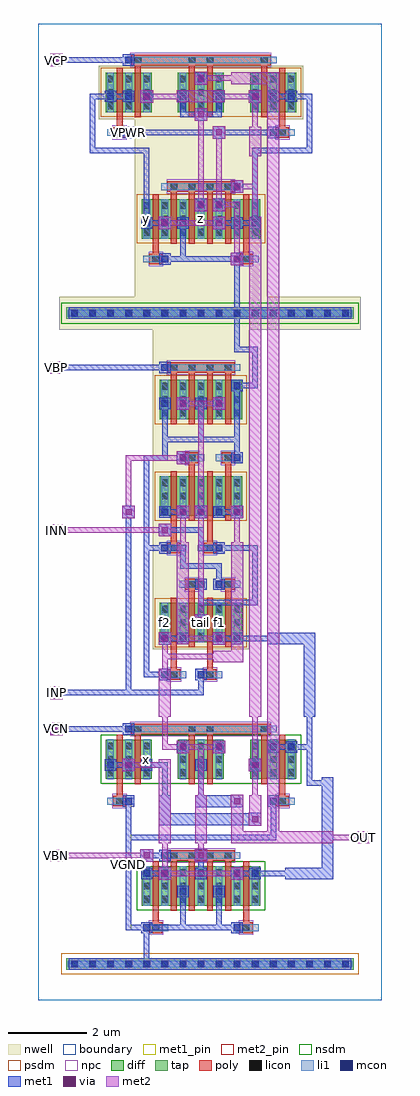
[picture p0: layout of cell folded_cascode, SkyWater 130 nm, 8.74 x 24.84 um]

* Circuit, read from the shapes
.subckt folded_cascode INN INP OUT VBN VBP VCN VCP VGND VPWR f1 f2 tail x y z
XM1 f1 VGND f1 VGND sky130_fd_pr__nfet_01v8 w=1 l=0.15 m=4
XM2 x VCN f1 VGND sky130_fd_pr__nfet_01v8 w=1 l=0.15 m=2
XM3 VGND VBN f1 VGND sky130_fd_pr__nfet_01v8 w=1 l=0.15 m=2
XM4 f2 VBN VGND VGND sky130_fd_pr__nfet_01v8 w=1 l=0.15 m=2
XM5 OUT VCN f2 VGND sky130_fd_pr__nfet_01v8 w=1 l=0.15 m=2
XM6 y VPWR y VPWR sky130_fd_pr__pfet_01v8 w=1 l=0.15 m=4
XM7 x VCP y VPWR sky130_fd_pr__pfet_01v8 w=1 l=0.15 m=2
XM8 f2 VPWR f2 VPWR sky130_fd_pr__pfet_01v8 w=1 l=0.15 m=2
XM9 f1 VPWR f1 VPWR sky130_fd_pr__pfet_01v8 w=1 l=0.15 m=2
XM10 tail VBP VPWR VPWR sky130_fd_pr__pfet_01v8 w=1 l=0.15 m=4
XM11 VPWR x y VPWR sky130_fd_pr__pfet_01v8 w=1 l=0.15 m=2
XM12 tail INN f2 VPWR sky130_fd_pr__pfet_01v8 w=1 l=0.15 m=2
XM13 tail INP f1 VPWR sky130_fd_pr__pfet_01v8 w=1 l=0.15 m=2
XM14 z x VPWR VPWR sky130_fd_pr__pfet_01v8 w=1 l=0.15 m=2
XM15 OUT VCP z VPWR sky130_fd_pr__pfet_01v8 w=1 l=0.15 m=2
.ends

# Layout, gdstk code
import gdstk
lib = gdstk.Library(unit=1e-6, precision=1e-09)
def R(c, l, rs):  # rectangles x0, y0, x1, y1
    for r in rs: c.add(gdstk.rectangle(r[:2], r[2:], *l))
def A(c, l, x, y, w, h, nx, ny, dx, dy):  # array of equal rectangles
    R(c, l, [(x+i*dx, y+j*dy, x+i*dx+w, y+j*dy+h) for i in range(nx) for j in range(ny)])
nwell = (64, 20)
diff = (65, 20)
tap = (65, 44)
poly = (66, 20)
licon = (66, 44)
li1 = (67, 20)
mcon = (67, 44)
met1_pin = (68, 16)
met1 = (68, 20)
via = (68, 44)
met2_pin = (69, 16)
met2 = (69, 20)
nsdm = (93, 44)
psdm = (94, 20)
npc = (95, 20)
boundary = (235, 4)

folded_cascode = lib.new_cell('folded_cascode')
R(folded_cascode, nwell, [(2.915,8.925,5.365,17.06), (0.535,17.06,8.205,17.9), (2.455,17.9,5.825,22.42), (1.535,22.42,6.745,23.78)])
A(folded_cascode, diff, 1.715, 5.625, 1.17, 1, 3, 2, 1.84, 16.975)
R(folded_cascode, diff, [(2.635,2.405,5.645,3.405), (3.095,9.105,5.185,10.105), (3.095,12.325,5.185,13.325), (3.095,14.78,5.185,15.78), (2.635,19.38,5.645,20.38)])
R(folded_cascode, tap, [(0.715,0.775,8.025,1.065), (0.715,17.335,8.025,17.625)])
A(folded_cascode, poly, 3.375, 2.275, 0.15, 1.405, 4, 1, 0.46, 0)
A(folded_cascode, poly, 3.375, 14.65, 0.15, 1.45, 4, 2, 0.46, 4.6)
R(folded_cascode, poly, [(2.825,1.705,3.155,1.975), (5.125,1.705,5.455,1.975), (2.915,1.84,3.065,3.535), (5.215,1.84,5.365,3.535), (3.285,3.545,4.995,3.815), (1.905,4.925,2.235,5.195), (6.045,4.925,6.375,5.195), (1.995,5.06,2.145,6.755), (6.135,5.06,6.285,6.755), (2.455,5.495,2.605,6.9), (3.835,5.495,3.985,6.9), (4.295,5.495,4.445,6.9), (5.675,5.495,5.825,6.9), (2.365,6.765,5.915,7.035), (3.285,8.145,3.615,8.415), (4.205,8.145,4.535,8.415), (3.375,8.28,3.525,10.235), (4.295,8.28,4.445,10.235), (3.835,8.975,3.985,10.58), (4.755,8.975,4.905,10.58), (3.745,10.445,4.075,10.715), (4.665,10.445,4.995,10.715), (3.285,11.365,3.615,11.635), (4.205,11.365,4.535,11.635), (3.375,11.5,3.525,13.455), (4.295,11.5,4.445,13.455), (3.835,12.195,3.985,13.8), (4.755,12.195,4.905,13.8), (3.745,13.665,4.075,13.935), (4.665,13.665,4.995,13.935), (3.285,15.965,4.995,16.235), (2.825,18.725,3.155,18.995), (5.125,18.725,5.455,18.995), (2.915,18.86,3.065,20.51), (5.215,18.86,5.365,20.51), (3.285,20.565,4.995,20.835), (1.905,21.945,2.235,22.215), (6.045,21.945,6.375,22.215), (1.995,22.08,2.145,23.73), (6.135,22.08,6.285,23.73), (2.455,22.47,2.605,23.92), (3.835,22.47,3.985,23.92), (4.295,22.47,4.445,23.92), (5.675,22.47,5.825,23.92), (2.365,23.785,5.915,24.055)])
A(folded_cascode, licon, 0.835, 0.835, 0.17, 0.17, 16, 2, 0.46, 16.56)
A(folded_cascode, licon, 2.675, 2.48, 0.17, 0.17, 7, 3, 0.46, 0.34)
A(folded_cascode, licon, 3.365, 3.595, 0.17, 0.17, 4, 2, 0.46, 12.42)
A(folded_cascode, licon, 1.755, 5.7, 0.17, 0.17, 3, 3, 0.46, 0.34)
A(folded_cascode, licon, 3.595, 5.7, 0.17, 0.17, 3, 3, 0.46, 0.34)
A(folded_cascode, licon, 5.435, 5.7, 0.17, 0.17, 3, 3, 0.46, 0.34)
A(folded_cascode, licon, 3.135, 9.18, 0.17, 0.17, 5, 3, 0.46, 0.34)
A(folded_cascode, licon, 3.135, 12.4, 0.17, 0.17, 5, 3, 0.46, 0.34)
A(folded_cascode, licon, 3.135, 14.855, 0.17, 0.17, 5, 3, 0.46, 0.34)
A(folded_cascode, licon, 2.675, 19.455, 0.17, 0.17, 7, 3, 0.46, 0.34)
A(folded_cascode, licon, 3.365, 20.615, 0.17, 0.17, 4, 1, 0.46, 0)
A(folded_cascode, licon, 1.755, 22.675, 0.17, 0.17, 3, 3, 0.46, 0.34)
A(folded_cascode, licon, 3.595, 22.675, 0.17, 0.17, 3, 3, 0.46, 0.34)
A(folded_cascode, licon, 5.435, 22.675, 0.17, 0.17, 3, 3, 0.46, 0.34)
R(folded_cascode, licon, [(2.905,1.755,3.075,1.925), (5.205,1.755,5.375,1.925), (1.985,4.975,2.155,5.145), (6.125,4.975,6.295,5.145), (2.445,6.815,2.615,6.985), (3.825,6.815,3.995,6.985), (4.285,6.815,4.455,6.985), (5.665,6.815,5.835,6.985), (3.365,8.195,3.535,8.365), (4.285,8.195,4.455,8.365), (3.825,10.495,3.995,10.665), (4.745,10.495,4.915,10.665), (3.365,11.415,3.535,11.585), (4.285,11.415,4.455,11.585), (3.825,13.715,3.995,13.885), (4.745,13.715,4.915,13.885), (2.905,18.775,3.075,18.945), (5.205,18.775,5.375,18.945), (1.985,21.995,2.155,22.165), (6.125,21.995,6.295,22.165), (2.445,23.835,2.615,24.005), (3.825,23.835,3.995,24.005), (4.285,23.835,4.455,24.005), (5.665,23.835,5.835,24.005)])
A(folded_cascode, li1, 2.675, 2.4, 0.17, 1.01, 7, 2, 0.46, 16.975)
A(folded_cascode, li1, 1.755, 5.62, 0.17, 1.01, 3, 2, 0.46, 16.975)
A(folded_cascode, li1, 3.595, 5.62, 0.17, 1.01, 3, 2, 0.46, 16.975)
A(folded_cascode, li1, 5.435, 5.62, 0.17, 1.01, 3, 2, 0.46, 16.975)
A(folded_cascode, li1, 3.135, 9.1, 0.17, 1.01, 5, 2, 0.46, 3.22)
A(folded_cascode, li1, 3.135, 14.775, 0.17, 1.01, 5, 1, 0.46, 0)
R(folded_cascode, li1, [(0.755,0.835,7.985,1.005), (2.675,1.755,3.305,1.925), (4.975,1.755,5.605,1.925), (3.135,3.595,5.145,3.765), (1.755,4.975,2.385,5.145), (5.895,4.975,6.525,5.145), (2.215,6.815,6.065,6.985), (3.135,8.195,3.765,8.365), (4.055,8.195,4.685,8.365), (3.595,10.495,4.225,10.665), (4.515,10.495,5.145,10.665), (3.135,11.415,3.765,11.585), (4.055,11.415,4.685,11.585), (3.595,13.715,4.225,13.885), (4.515,13.715,5.145,13.885), (3.135,16.015,5.145,16.185), (0.755,17.395,7.985,17.565), (2.675,18.775,3.305,18.945), (4.975,18.775,5.605,18.945), (3.135,20.615,5.145,20.785), (1.755,21.995,2.385,22.165), (5.895,21.995,6.525,22.165), (2.215,23.835,6.065,24.005)])
A(folded_cascode, mcon, 0.835, 0.835, 0.17, 0.17, 16, 2, 0.46, 16.56)
A(folded_cascode, mcon, 3.135, 3.135, 0.17, 0.17, 3, 1, 0.92, 0)
A(folded_cascode, mcon, 1.755, 5.895, 0.17, 0.17, 3, 2, 0.46, 17.02)
A(folded_cascode, mcon, 3.135, 12.335, 0.17, 0.17, 5, 1, 0.46, 0)
A(folded_cascode, mcon, 3.135, 15.095, 0.17, 0.17, 4, 1, 0.46, 0)
A(folded_cascode, mcon, 4.975, 18.775, 0.17, 0.17, 1, 3, 0, 0.92)
A(folded_cascode, mcon, 2.675, 19.695, 0.17, 0.17, 3, 1, 0.46, 0)
A(folded_cascode, mcon, 3.595, 22.915, 0.17, 0.17, 3, 1, 0.92, 0)
R(folded_cascode, mcon, [(2.675,1.755,2.845,1.925), (4.975,1.755,5.145,1.925), (3.595,2.675,3.765,2.845), (4.515,2.675,4.685,2.845), (2.675,3.135,2.845,3.305), (5.435,3.135,5.605,3.305), (3.135,3.595,3.305,3.765), (2.215,4.975,2.385,5.145), (5.895,4.975,6.065,5.145), (4.055,5.895,4.225,6.065), (5.435,5.895,5.605,6.065), (3.595,6.355,3.765,6.525), (4.515,6.355,4.685,6.525), (5.895,6.355,6.065,6.525), (6.355,6.355,6.525,6.525), (2.215,6.815,2.385,6.985), (3.135,8.195,3.305,8.365), (4.055,8.195,4.225,8.365), (3.135,9.115,3.305,9.285), (3.595,9.115,3.765,9.285), (4.515,9.115,4.685,9.285), (4.975,9.115,5.145,9.285), (4.055,9.575,4.225,9.745), (4.055,10.495,4.225,10.665), (4.515,10.495,4.685,10.665), (3.135,11.415,3.305,11.585), (4.515,11.415,4.685,11.585), (3.595,13.715,3.765,13.885), (4.975,13.715,5.145,13.885), (4.975,15.555,5.145,15.725), (3.135,16.015,3.305,16.185), (3.135,18.775,3.305,18.945), (5.435,19.695,5.605,19.865), (4.055,20.155,4.225,20.325), (4.515,20.155,4.685,20.325), (2.215,21.995,2.385,22.165), (5.895,21.995,6.065,22.165), (5.895,22.915,6.065,23.085), (6.355,22.915,6.525,23.085), (4.055,23.375,4.225,23.545), (2.215,23.835,2.385,24.005)])
R(folded_cascode, met1_pin, [(2.23,1.77,2.37,5.13), (2.155,21.935,2.445,22.225)])
A(folded_cascode, met1, 3.075, 3.075, 0.29, 0.29, 3, 1, 0.92, 0)
A(folded_cascode, met1, 2.69, 3.61, 0.6, 0.14, 1, 3, 0, 2.3)
A(folded_cascode, met1, 1.695, 5.835, 0.29, 0.29, 3, 2, 0.46, 17.02)
A(folded_cascode, met1, 3.52, 12.26, 0.32, 0.32, 1, 3, 0, 1.38)
A(folded_cascode, met1, 3.075, 12.275, 0.29, 0.29, 5, 1, 0.46, 0)
A(folded_cascode, met1, 3.075, 15.035, 0.29, 0.29, 4, 1, 0.46, 0)
A(folded_cascode, met1, 4.915, 18.715, 0.29, 0.29, 1, 3, 0, 0.92)
A(folded_cascode, met1, 2.615, 19.635, 0.29, 0.29, 3, 1, 0.46, 0)
A(folded_cascode, met1, 3.535, 22.855, 0.29, 0.29, 3, 1, 0.92, 0)
R(folded_cascode, met1, [(0.775,0.775,7.965,1.065), (2.69,0.85,2.83,1.91), (2.69,0.85,2.83,0.99), (2.615,1.695,2.905,1.985), (4.915,1.695,5.205,1.985), (2.23,1.77,2.83,1.91), (2.23,1.77,2.37,5.13), (2.69,1.77,3.75,1.91), (3.61,1.77,3.75,2.83), (3.61,1.77,5.13,1.91), (4.53,1.77,4.67,2.83), (3.535,2.615,3.825,2.905), (4.455,2.615,4.745,2.905), (3.06,3.06,3.38,3.38), (4.9,3.06,5.22,3.38), (6.29,3.07,7.51,3.37), (7.21,3.07,7.51,5.67), (2.615,3.075,2.905,3.365), (5.375,3.075,5.665,3.365), (2.69,3.15,3.29,3.29), (4.07,3.15,4.21,3.75), (4.99,3.15,5.59,3.29), (5.45,3.15,6.51,3.29), (2.6,3.52,2.92,3.84), (3.98,3.52,4.3,3.84), (3.075,3.535,3.365,3.825), (2.23,4.07,6.05,4.21), (5.91,4.07,6.05,5.13), (5.36,4.44,5.68,4.76), (3.07,4.45,5.67,4.75), (3.07,4.45,3.37,5.21), (4.9,4.9,5.22,5.22), (3.99,4.91,5.21,5.21), (2.155,4.915,2.445,5.205), (5.835,4.915,6.125,5.205), (3.15,4.99,3.29,6.05), (4.07,4.99,4.21,6.05), (6.83,5.45,7.43,5.59), (6.83,5.45,6.97,6.51), (2.14,5.82,2.46,6.14), (5.36,5.82,5.68,6.14), (3.995,5.835,4.285,6.125), (5.375,5.835,5.665,6.125), (1.77,5.91,2.37,6.05), (3.52,6.28,3.84,6.6), (4.44,6.28,4.76,6.6), (3.535,6.295,3.825,6.585), (4.455,6.295,4.745,6.585), (5.835,6.295,6.125,6.585), (6.295,6.295,6.585,6.585), (5.91,6.37,6.51,6.51), (6.37,6.37,6.97,6.51), (6.83,6.37,6.97,7.43), (0.3,6.74,0.62,7.06), (2.155,6.755,2.445,7.045), (0.39,6.83,2.37,6.97), (6.75,7.21,7.05,9.35), (0.3,7.66,0.62,7.98), (0.39,7.75,4.21,7.89), (2.23,7.75,2.37,12.49), (4.07,7.75,4.21,8.35), (3.075,8.135,3.365,8.425), (3.995,8.135,4.285,8.425), (2.69,8.21,2.83,11.57), (3.06,9.04,3.38,9.36), (4.44,9.04,4.76,9.36), (5.83,9.05,7.05,9.35), (3.075,9.055,3.365,9.345), (3.535,9.055,3.825,9.345), (4.455,9.055,4.745,9.345), (4.915,9.055,5.205,9.345), (3.15,9.13,3.75,9.27), (4.53,9.13,5.13,9.27), (4.99,9.13,6.05,9.27), (3.98,9.5,4.3,9.82), (3.995,9.515,4.285,9.805), (4.07,10.05,4.21,10.65), (4.07,10.05,5.59,10.19), (5.45,10.05,5.59,11.57), (3.995,10.435,4.285,10.725), (4.455,10.435,4.745,10.725), (4.53,10.51,4.67,11.11), (3.61,10.97,3.75,11.57), (3.61,10.97,4.67,11.11), (3.075,11.355,3.365,11.645), (4.455,11.355,4.745,11.645), (2.69,11.43,3.29,11.57), (2.69,11.43,2.83,13.87), (3.15,11.43,3.75,11.57), (4.07,11.43,4.67,11.57), (4.07,11.43,4.21,12.03), (4.53,11.43,5.59,11.57), (3.06,11.8,3.38,12.12), (3.15,11.89,4.21,12.03), (2.14,12.26,2.46,12.58), (3.98,12.26,4.3,12.58), (4.9,12.26,5.22,12.58), (3.15,12.35,3.75,12.49), (4.53,12.35,5.13,12.49), (3.535,13.655,3.825,13.945), (4.915,13.655,5.205,13.945), (2.69,13.73,3.29,13.87), (3.15,13.73,3.29,14.33), (4.99,13.73,5.13,15.71), (3.15,14.19,3.29,15.25), (3.15,14.19,4.21,14.33), (4.07,14.19,4.21,15.25), (4.07,14.19,5.13,14.33), (4.44,15.02,4.76,15.34), (4.915,15.495,5.205,15.785), (4.99,15.57,5.59,15.71), (5.45,15.57,5.59,16.63), (0.3,15.94,0.62,16.26), (3.075,15.955,3.365,16.245), (0.39,16.03,3.29,16.17), (4.99,16.49,5.59,16.63), (4.99,16.49,5.13,17.55), (0.775,17.335,7.965,17.625), (4.99,17.41,5.13,17.55), (4.99,17.41,5.13,18.93), (4.9,18.7,5.22,19.02), (3.075,18.715,3.365,19.005), (3.15,18.79,5.13,18.93), (3.61,18.79,3.75,19.85), (3.06,19.62,3.38,19.94), (4.44,19.62,4.76,19.94), (5.375,19.635,5.665,19.925), (2.69,19.71,3.29,19.85), (2.69,19.71,2.83,21.69), (4.53,19.71,5.13,19.85), (4.99,19.71,5.59,19.85), (5.45,19.71,5.59,21.69), (3.98,20.08,4.3,20.4), (4.44,20.08,4.76,20.4), (3.995,20.095,4.285,20.385), (4.455,20.095,4.745,20.385), (4.9,20.54,5.22,20.86), (1.31,21.55,2.83,21.69), (1.31,21.55,1.45,23.07), (5.45,21.55,6.97,21.69), (6.83,21.55,6.97,23.07), (4.44,21.92,4.76,22.24), (2.155,21.935,2.445,22.225), (5.835,21.935,6.125,22.225), (2.23,22.01,4.67,22.15), (4.53,22.01,6.05,22.15), (3.98,22.38,4.3,22.7), (3.61,22.47,4.21,22.61), (3.61,22.47,3.75,23.07), (4.07,22.47,4.67,22.61), (4.53,22.47,4.67,23.07), (2.6,22.84,2.92,23.16), (5.36,22.84,5.68,23.16), (5.835,22.855,6.125,23.145), (6.295,22.855,6.585,23.145), (1.31,22.93,1.91,23.07), (1.77,22.93,2.37,23.07), (5.91,22.93,6.51,23.07), (6.37,22.93,6.97,23.07), (3.98,23.3,4.3,23.62), (3.995,23.315,4.285,23.605), (0.3,23.76,0.62,24.08), (2.155,23.775,2.445,24.065), (0.39,23.85,2.37,23.99)])
A(folded_cascode, via, 3.605, 12.345, 0.15, 0.15, 1, 3, 0, 1.38)
R(folded_cascode, via, [(3.145,3.145,3.295,3.295), (4.985,3.145,5.135,3.295), (2.685,3.605,2.835,3.755), (4.065,3.605,4.215,3.755), (5.445,4.525,5.595,4.675), (4.985,4.985,5.135,5.135), (2.225,5.905,2.375,6.055), (5.445,5.905,5.595,6.055), (3.605,6.365,3.755,6.515), (4.525,6.365,4.675,6.515), (0.385,6.825,0.535,6.975), (0.385,7.745,0.535,7.895), (3.145,9.125,3.295,9.275), (4.525,9.125,4.675,9.275), (4.065,9.585,4.215,9.735), (3.145,11.885,3.295,12.035), (2.225,12.345,2.375,12.495), (4.065,12.345,4.215,12.495), (4.985,12.345,5.135,12.495), (4.525,15.105,4.675,15.255), (0.385,16.025,0.535,16.175), (4.985,18.785,5.135,18.935), (3.145,19.705,3.295,19.855), (4.525,19.705,4.675,19.855), (4.065,20.165,4.215,20.315), (4.525,20.165,4.675,20.315), (4.985,20.625,5.135,20.775), (4.525,22.005,4.675,22.155), (4.065,22.465,4.215,22.615), (2.685,22.925,2.835,23.075), (5.445,22.925,5.595,23.075), (4.065,23.385,4.215,23.535), (0.385,23.845,0.535,23.995)])
A(folded_cascode, met2_pin, 0.31, 7.67, 0.3, 0.3, 1, 3, 0, 4.14)
R(folded_cascode, met2_pin, [(0.31,3.53,0.61,3.83), (8.13,3.99,8.43,4.29), (0.31,6.75,0.61,7.05), (0.31,23.77,0.61,24.07)])
A(folded_cascode, met2, 0.31, 7.67, 0.3, 0.3, 1, 3, 0, 4.14)
A(folded_cascode, met2, 0.39, 7.75, 0.14, 0.14, 1, 3, 0, 4.14)
A(folded_cascode, met2, 3.52, 12.26, 0.32, 0.32, 1, 3, 0, 1.38)
R(folded_cascode, met2, [(3.06,3.06,3.38,3.38), (4.9,3.06,5.22,3.38), (3.15,3.15,5.13,3.29), (3.15,3.15,3.29,4.21), (2.6,3.52,2.92,3.84), (3.98,3.52,4.3,3.84), (0.31,3.53,0.61,3.83), (0.39,3.61,0.53,3.75), (0.39,3.61,2.83,3.75), (4.07,3.61,4.21,4.21), (3.07,3.99,3.37,6.13), (3.99,3.99,4.29,5.21), (4.91,3.99,5.21,5.21), (4.91,3.99,7.51,4.29), (5.83,3.99,6.13,23.61), (8.13,3.99,8.43,4.29), (7.29,4.07,8.35,4.21), (8.21,4.07,8.35,4.21), (5.36,4.44,5.68,4.76), (5.37,4.45,5.67,5.21), (4.9,4.9,5.22,5.22), (4.07,4.99,4.21,6.51), (5.45,4.99,5.59,6.05), (2.14,5.82,2.46,6.14), (5.36,5.82,5.68,6.14), (2.23,5.91,3.29,6.05), (5.45,5.91,5.59,7.43), (3.52,6.28,3.84,6.6), (4.44,6.28,4.76,6.6), (3.15,6.37,3.75,6.51), (3.15,6.37,3.29,7.43), (3.61,6.37,4.67,6.51), (0.3,6.74,0.62,7.06), (0.31,6.75,0.61,7.05), (0.39,6.83,0.53,6.97), (3.07,7.21,3.37,8.43), (5.37,7.21,5.67,19.93), (0.3,7.66,0.62,7.98), (3.15,8.21,3.29,9.27), (4.45,8.59,5.21,8.89), (4.91,8.59,5.21,11.65), (3.15,8.67,4.67,8.81), (3.06,9.04,3.38,9.36), (4.44,9.04,4.76,9.36), (3.53,9.05,3.83,11.65), (3.61,9.13,4.67,9.27), (3.98,9.5,4.3,9.82), (4.07,9.59,4.21,12.49), (3.61,11.43,3.75,12.49), (4.99,11.43,5.13,12.49), (3.06,11.8,3.38,12.12), (0.39,11.89,3.29,12.03), (2.14,12.26,2.46,12.58), (3.98,12.26,4.3,12.58), (4.9,12.26,5.22,12.58), (2.23,12.35,2.37,13.87), (4.07,12.35,4.21,15.25), (2.23,13.73,3.75,13.87), (4.44,15.02,4.76,15.34), (3.61,15.11,4.21,15.25), (4.07,15.11,4.67,15.25), (0.3,15.94,0.62,16.26), (4.9,18.7,5.22,19.02), (4.99,18.79,5.13,20.31), (3.06,19.62,3.38,19.94), (4.44,19.62,4.76,19.94), (3.15,19.71,4.67,19.85), (5.45,19.71,5.59,20.77), (3.98,20.08,4.3,20.4), (4.44,20.08,4.76,20.4), (4.07,20.17,4.21,22.61), (4.53,20.17,5.13,20.31), (4.53,20.17,4.67,22.15), (4.9,20.54,5.22,20.86), (4.99,20.63,5.59,20.77), (5.45,20.63,5.59,21.69), (5.37,21.47,5.67,22.23), (4.44,21.92,4.76,22.24), (5.45,22.01,5.59,23.07), (3.98,22.38,4.3,22.7), (2.6,22.84,2.92,23.16), (5.36,22.84,5.68,23.16), (3.53,22.85,4.75,23.15), (2.69,22.93,3.75,23.07), (4.53,22.93,5.59,23.07), (3.98,23.3,4.3,23.62), (4.91,23.31,6.13,23.61), (4.07,23.39,5.13,23.53), (0.3,23.76,0.62,24.08), (0.31,23.77,0.61,24.07), (0.39,23.85,0.53,23.99)])
R(folded_cascode, nsdm, [(2.51,2.28,5.77,3.53), (1.59,5.5,6.69,6.75), (0.59,17.21,8.15,17.75)])
R(folded_cascode, psdm, [(0.59,0.65,8.15,1.19), (2.97,8.98,5.31,10.23), (2.97,12.2,5.31,13.45), (2.97,14.655,5.31,15.905), (2.51,19.255,5.77,20.505), (1.59,22.475,6.69,23.725)])
R(folded_cascode, npc, [(2.805,1.655,3.175,2.025), (5.105,1.655,5.475,2.025), (3.265,3.495,5.015,3.865), (1.885,4.875,2.255,5.245), (6.025,4.875,6.395,5.245), (2.345,6.715,5.935,7.085), (3.265,8.095,3.635,8.465), (4.185,8.095,4.555,8.465), (3.725,10.395,4.095,10.765), (4.645,10.395,5.015,10.765), (3.265,11.315,3.635,11.685), (4.185,11.315,4.555,11.685), (3.725,13.615,4.095,13.985), (4.645,13.615,5.015,13.985), (3.265,15.915,5.015,16.285), (2.805,18.675,3.175,19.045), (5.105,18.675,5.475,19.045), (3.265,20.515,5.015,20.885), (1.885,21.895,2.255,22.265), (6.025,21.895,6.395,22.265), (2.345,23.735,5.935,24.105)])
R(folded_cascode, boundary, [(0,0,8.74,24.84)])
folded_cascode.add(gdstk.Label('f2', (3.22,9.605), layer=67, texttype=5))
folded_cascode.add(gdstk.Label('tail', (4.14,9.605), layer=67, texttype=5))
folded_cascode.add(gdstk.Label('f1', (4.6,9.605), layer=67, texttype=5))
folded_cascode.add(gdstk.Label('x', (2.76,6.125), layer=67, texttype=5))
folded_cascode.add(gdstk.Label('y', (2.76,19.88), layer=67, texttype=5))
folded_cascode.add(gdstk.Label('z', (4.14,19.88), layer=67, texttype=5))
folded_cascode.add(gdstk.Label('VPWR', (2.3,22.08), layer=68, texttype=5))
folded_cascode.add(gdstk.Label('VGND', (2.3,3.45), layer=68, texttype=5))
folded_cascode.add(gdstk.Label('INP', (0.46,7.82), layer=69, texttype=5))
folded_cascode.add(gdstk.Label('INN', (0.46,11.96), layer=69, texttype=5))
folded_cascode.add(gdstk.Label('VBP', (0.46,16.1), layer=69, texttype=5))
folded_cascode.add(gdstk.Label('VBN', (0.46,3.68), layer=69, texttype=5))
folded_cascode.add(gdstk.Label('VCN', (0.46,6.9), layer=69, texttype=5))
folded_cascode.add(gdstk.Label('VCP', (0.46,23.92), layer=69, texttype=5))
folded_cascode.add(gdstk.Label('OUT', (8.28,4.14), layer=69, texttype=5))
folded_cascode.add(gdstk.Label('VPWR', (2.3,22.08), layer=68, texttype=16))
folded_cascode.add(gdstk.Label('VGND', (2.3,3.45), layer=68, texttype=16))
folded_cascode.add(gdstk.Label('INP', (0.46,7.82), layer=69, texttype=16))
folded_cascode.add(gdstk.Label('INN', (0.46,11.96), layer=69, texttype=16))
folded_cascode.add(gdstk.Label('VBP', (0.46,16.1), layer=69, texttype=16))
folded_cascode.add(gdstk.Label('VBN', (0.46,3.68), layer=69, texttype=16))
folded_cascode.add(gdstk.Label('VCN', (0.46,6.9), layer=69, texttype=16))
folded_cascode.add(gdstk.Label('VCP', (0.46,23.92), layer=69, texttype=16))
folded_cascode.add(gdstk.Label('OUT', (8.28,4.14), layer=69, texttype=16))

lib.write_gds('folded_cascode.gds')
